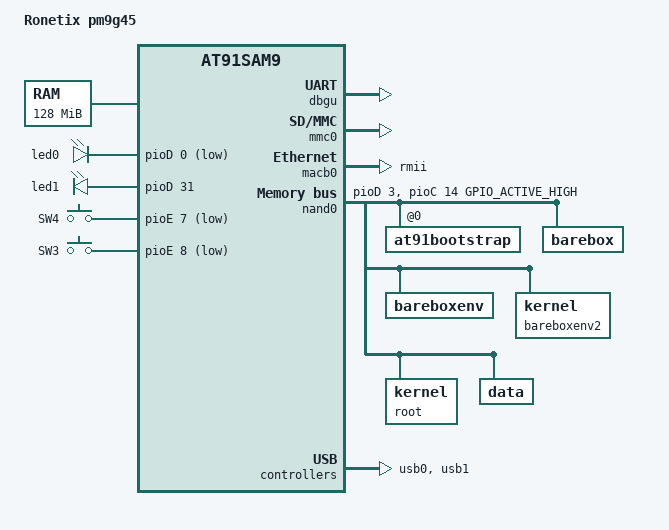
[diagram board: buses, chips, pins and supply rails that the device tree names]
/*
 * pm9g45.dts - Device Tree file for Ronetix pm9g45 board
 *
 *  Copyright (C) 2012 Jean-Christophe PLAGNIOL-VILLARD <plagnioj@jcrosoft.com>
 *
 * Licensed under GPLv2.
 */
/dts-v1/;
#include "at91sam9g45.dtsi"

/ {
	model = "Ronetix pm9g45";
	compatible = "ronetix,pm9g45", "atmel,at91sam9g45", "atmel,at91sam9";

	chosen {
		bootargs = "console=ttyS0,115200";
	};

	memory {
		reg = <0x70000000 0x8000000>;
	};

	clocks {
		slow_xtal {
		      clock-frequency = <32768>;
		};

		main_xtal {
		      clock-frequency = <12000000>;
		};
	};

	ahb {
		apb {
			dbgu: serial@ffffee00 {
				status = "okay";
			};

			pinctrl@fffff200 {

				board {
					pinctrl_board_nand: nand0-board {
						atmel,pins =
							<AT91_PIOD 3 AT91_PERIPH_GPIO AT91_PINCTRL_PULL_UP	/* PD3 gpio RDY pin pull_up*/
							 AT91_PIOC 14 AT91_PERIPH_GPIO AT91_PINCTRL_PULL_UP>;	/* PC14 gpio enable pin pull_up */
					};
				};

				mmc {
					pinctrl_board_mmc: mmc0-board {
						atmel,pins =
							<AT91_PIOD 6 AT91_PERIPH_GPIO AT91_PINCTRL_PULL_UP_DEGLITCH>;	/* PD6 gpio CD pin pull_up and deglitch */
					};
				};
			};

			mmc0: mmc@fff80000 {
				pinctrl-0 = <
					&pinctrl_board_mmc
					&pinctrl_mmc0_slot0_clk_cmd_dat0
					&pinctrl_mmc0_slot0_dat1_3>;
				status = "okay";
				slot@0 {
					reg = <0>;
					bus-width = <4>;
					cd-gpios = <&pioD 6 GPIO_ACTIVE_HIGH>;
				};
			};

			macb0: ethernet@fffbc000 {
				phy-mode = "rmii";
				status = "okay";
			};

		};

		nand0: nand@40000000 {
			nand-bus-width = <8>;
			nand-ecc-mode = "soft";
			nand-on-flash-bbt;
			pinctrl-0 = <&pinctrl_board_nand>;

			gpios = <&pioD 3 GPIO_ACTIVE_HIGH
				 &pioC 14 GPIO_ACTIVE_HIGH
				 0
				>;

			status = "okay";

			at91bootstrap@0 {
				label = "at91bootstrap";
				reg = <0x0 0x20000>;
			};

			barebox@20000 {
				label = "barebox";
				reg = <0x20000 0x40000>;
			};

			bareboxenv@60000 {
				label = "bareboxenv";
				reg = <0x60000 0x1A0000>;
			};

			kernel@200000 {
				label = "bareboxenv2";
				reg = <0x200000 0x300000>;
			};

			kernel@500000 {
				label = "root";
				reg = <0x500000 0x400000>;
			};

			data@900000 {
				label = "data";
				reg = <0x900000 0x8340000>;
			};
		};

		usb0: ohci@00700000 {
			status = "okay";
			num-ports = <2>;
		};

		usb1: ehci@00800000 {
			status = "okay";
		};
	};

	leds {
		compatible = "gpio-leds";

		led0 {
			label = "led0";
			gpios = <&pioD 0 GPIO_ACTIVE_LOW>;
			linux,default-trigger = "nand-disk";
		};

		led1 {
			label = "led1";
			gpios = <&pioD 31 GPIO_ACTIVE_HIGH>;
			linux,default-trigger = "heartbeat";
		};
	};

	gpio_keys {
		compatible = "gpio-keys";
		#address-cells = <1>;
		#size-cells = <0>;

		right {
			label = "SW4";
			gpios = <&pioE 7 GPIO_ACTIVE_LOW>;
			linux,code = <106>;
		};

		up {
			label = "SW3";
			gpios = <&pioE 8 GPIO_ACTIVE_LOW>;
			linux,code = <103>;
		};
	};
};
